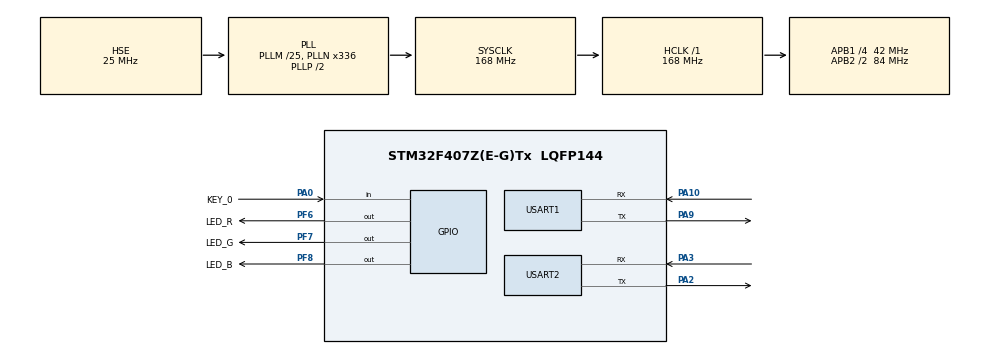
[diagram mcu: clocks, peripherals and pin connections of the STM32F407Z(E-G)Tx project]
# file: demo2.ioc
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Mcu.Family=STM32F4
Mcu.Name=STM32F407Z(E-G)Tx
Mcu.Package=LQFP144
NVIC.PriorityGroup=NVIC_PRIORITYGROUP_4
PA0-WKUP.GPIO_Label=KEY_0
PA0-WKUP.Signal=GPIO_Input
PA10.Mode=Asynchronous
PA10.Signal=USART1_RX
PA13.Mode=Serial_Wire
PA13.Signal=SYS_JTMS-SWDIO
PA14.Mode=Serial_Wire
PA14.Signal=SYS_JTCK-SWCLK
PA2.Mode=Asynchronous
PA2.Signal=USART2_TX
PA3.Mode=Asynchronous
PA3.Signal=USART2_RX
PA9.Mode=Asynchronous
PA9.Signal=USART1_TX
PF6.GPIO_Label=LED_R
PF6.PinState=GPIO_PIN_RESET
PF6.Signal=GPIO_Output
PF7.GPIO_Label=LED_G
PF7.PinState=GPIO_PIN_RESET
PF7.Signal=GPIO_Output
PF8.GPIO_Label=LED_B
PF8.Signal=GPIO_Output
PH0-OSC_IN.Mode=HSE-External-Oscillator
PH0-OSC_IN.Signal=RCC_OSC_IN
PH1-OSC_OUT.Mode=HSE-External-Oscillator
PH1-OSC_OUT.Signal=RCC_OSC_OUT
ProjectManager.HeapSize=0x200
ProjectManager.StackSize=0x400
ProjectManager.TargetToolchain=MDK-ARM V5.32
RCC.48MHZClocksFreq_Value=84000000
RCC.AHBFreq_Value=168000000
RCC.APB1CLKDivider=RCC_HCLK_DIV4
RCC.APB1Freq_Value=42000000
RCC.APB1TimFreq_Value=84000000
RCC.APB2CLKDivider=RCC_HCLK_DIV2
RCC.APB2Freq_Value=84000000
RCC.APB2TimFreq_Value=168000000
RCC.CortexFreq_Value=168000000
RCC.HCLKFreq_Value=168000000
RCC.HSE_VALUE=25000000
RCC.HSI_VALUE=16000000
RCC.LSE_VALUE=32768
RCC.PLLM=25
RCC.PLLN=336
RCC.PLLSourceVirtual=RCC_PLLSOURCE_HSE
RCC.SYSCLKFreq_VALUE=168000000
RCC.SYSCLKSource=RCC_SYSCLKSOURCE_PLLCLK
RCC.VCOOutputFreq_Value=336000000
USART1.VirtualMode=VM_ASYNC
USART2.VirtualMode=VM_ASYNC
board=custom

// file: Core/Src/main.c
/* USER CODE BEGIN Header */
/**
  ******************************************************************************
  * @file           : main.c
  * @brief          : Main program body
  ******************************************************************************
  * @attention
  *
  * Copyright (c) 2025 STMicroelectronics.
  * All rights reserved.
  *
  * This software is licensed under terms that can be found in the LICENSE file
  * in the root directory of this software component.
  * If no LICENSE file comes with this software, it is provided AS-IS.
  *
  ******************************************************************************
  */
/* USER CODE END Header */
#include "main.h"
#include "usart.h"
#include "gpio.h"

/* USER CODE BEGIN Includes */
#include "stdio.h"
#include "string.h"
#include "lora.h"

/* USER CODE END Includes */

/* USER CODE BEGIN PV */
uint8_t aRxBuffer[1]; // 统一使用这个变量作为串口接收缓存

/* USER CODE END PV */

void SystemClock_Config(void);

/* USER CODE BEGIN 0 */

// 重定向 printf 到 UART1
int fputc(int ch, FILE *f) {
    HAL_UART_Transmit(&huart1, (uint8_t *)&ch, 1, 0xFFFF);
    return ch;
}

/* USER CODE END 0 */

int main(void)
{

  /* MCU Configuration--------------------------------------------------------*/

  /* Reset of all peripherals, Initializes the Flash interface and the Systick. */
  HAL_Init();

  /* Configure the system clock */
  SystemClock_Config();

  /* Initialize all configured peripherals */
  MX_GPIO_Init();
  MX_USART1_UART_Init();
  MX_USART2_UART_Init();
  /* USER CODE BEGIN 2 */

#if 1
	printf("LoRa System Start!\r\n");

	// 初始化 LoRa 为正常模式 (M0=0, M1=0)
	LoRa_SetMode(LORA_MODE_NORMAL);

	// 核心：启动第一次串口中断接收
	HAL_UART_Receive_IT(&huart2, aRxBuffer, 1);

	printf("Waiting for data...\r\n");

#endif
  /* USER CODE END 2 */

  /* Infinite loop */
  while (1)
  {

    /* USER CODE BEGIN 3 */
		// 检测 PA0 (KEY0) 是否按下 (根据开发板电路，按下通常为高电平)
    if (HAL_GPIO_ReadPin(GPIOA, GPIO_PIN_0) == GPIO_PIN_SET)
    {
        HAL_Delay(20); // 软件消抖
        if (HAL_GPIO_ReadPin(KEY_0_GPIO_Port, KEY_0_Pin) == GPIO_PIN_SET)
        {
            // 执行发送
            printf("KEY0 Pressed: Sending Data...\r\n");
            LoRa_SendString("Remote Control: LED_TOGGLE\r\n"); // 使用你完善的驱动发送

            // 等待按键松开，防止连续触发
            while(HAL_GPIO_ReadPin(KEY_0_GPIO_Port, KEY_0_Pin) == GPIO_PIN_SET);
        }
    }

    // 心跳指示：红灯微弱闪烁，代表程序未卡死
    HAL_GPIO_TogglePin(LED_R_GPIO_Port, LED_R_Pin);
    HAL_Delay(200);

  }
  /* USER CODE END 3 */
}

void SystemClock_Config(void)
{
  RCC_OscInitTypeDef RCC_OscInitStruct = {0};
  RCC_ClkInitTypeDef RCC_ClkInitStruct = {0};

  /** Configure the main internal regulator output voltage
  */
  __HAL_RCC_PWR_CLK_ENABLE();
  __HAL_PWR_VOLTAGESCALING_CONFIG(PWR_REGULATOR_VOLTAGE_SCALE1);

  /** Initializes the RCC Oscillators according to the specified parameters
  * in the RCC_OscInitTypeDef structure.
  */
  RCC_OscInitStruct.OscillatorType = RCC_OSCILLATORTYPE_HSE;
  RCC_OscInitStruct.HSEState = RCC_HSE_ON;
  RCC_OscInitStruct.PLL.PLLState = RCC_PLL_ON;
  RCC_OscInitStruct.PLL.PLLSource = RCC_PLLSOURCE_HSE;
  RCC_OscInitStruct.PLL.PLLM = 25;
  RCC_OscInitStruct.PLL.PLLN = 336;
  RCC_OscInitStruct.PLL.PLLP = RCC_PLLP_DIV2;
  RCC_OscInitStruct.PLL.PLLQ = 4;
  if (HAL_RCC_OscConfig(&RCC_OscInitStruct) != HAL_OK)
  {
    Error_Handler();
  }

  /** Initializes the CPU, AHB and APB buses clocks
  */
  RCC_ClkInitStruct.ClockType = RCC_CLOCKTYPE_HCLK|RCC_CLOCKTYPE_SYSCLK
                              |RCC_CLOCKTYPE_PCLK1|RCC_CLOCKTYPE_PCLK2;
  RCC_ClkInitStruct.SYSCLKSource = RCC_SYSCLKSOURCE_PLLCLK;
  RCC_ClkInitStruct.AHBCLKDivider = RCC_SYSCLK_DIV1;
  RCC_ClkInitStruct.APB1CLKDivider = RCC_HCLK_DIV4;
  RCC_ClkInitStruct.APB2CLKDivider = RCC_HCLK_DIV2;

  if (HAL_RCC_ClockConfig(&RCC_ClkInitStruct, FLASH_LATENCY_5) != HAL_OK)
  {
    Error_Handler();
  }
}

/* USER CODE BEGIN 4 */

// 串口错误回调：防止因无线干扰导致的 ORE (溢出) 错误锁死串口
void HAL_UART_ErrorCallback(UART_HandleTypeDef *huart) {
    if (huart->Instance == USART2) {
        if (__HAL_UART_GET_FLAG(huart, UART_FLAG_ORE) != RESET) {
            __HAL_UART_CLEAR_OREFLAG(huart); // 清除溢出标志
            HAL_UART_Receive_IT(&huart2, aRxBuffer, 1); // 重启中断接收
        }
    }
}

// 完善接收回调：实现转发与绿灯反馈
void HAL_UART_RxCpltCallback(UART_HandleTypeDef *huart) {
    if (huart->Instance == USART2) {
        HAL_GPIO_TogglePin(LED_G_GPIO_Port, LED_G_Pin); // 绿灯翻转，提示收到数据
        HAL_UART_Transmit(&huart1, aRxBuffer, 1, 10);   // 转发到调试串口
        HAL_UART_Receive_IT(&huart2, aRxBuffer, 1);     // 重新开启中断
    }
}

/* USER CODE END 4 */

void Error_Handler(void)
{
  __disable_irq();
  while (1)
  {
  }
}
